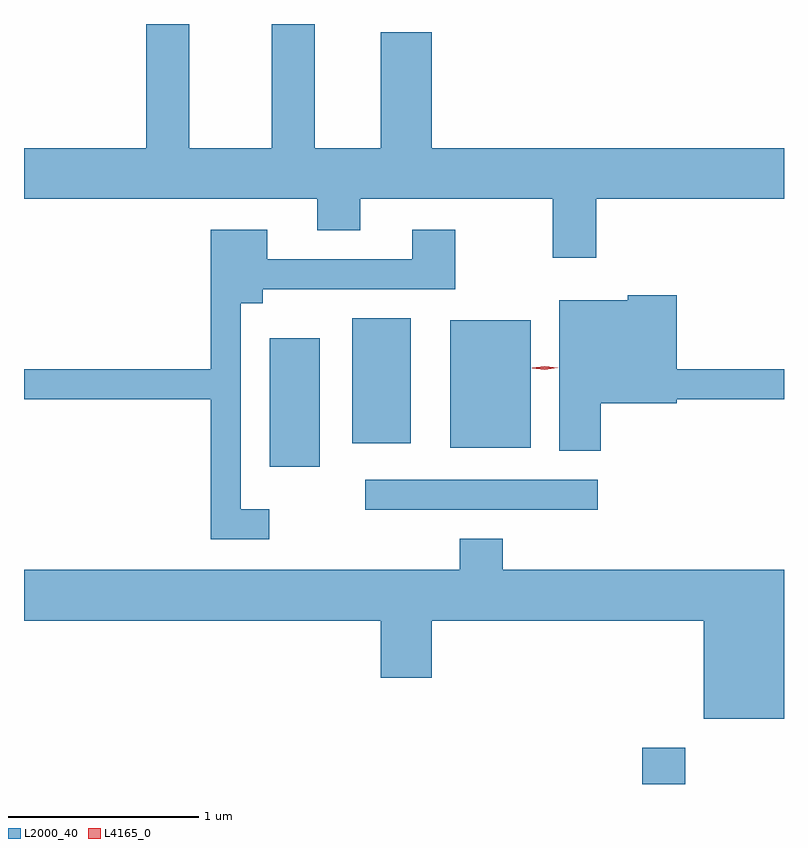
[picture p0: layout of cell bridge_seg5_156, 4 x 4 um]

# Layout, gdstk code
import gdstk
lib = gdstk.Library(unit=1e-6, precision=1e-09)
def R(c, l, rs):  # rectangles x0, y0, x1, y1
    for r in rs: c.add(gdstk.rectangle(r[:2], r[2:], *l))
def P(c, l, *ps):  # polygons
    for p in ps: c.add(gdstk.Polygon(p, *l))
L2000_40 = (2000, 40)
L4165_0 = (4165, 0)

bridge_seg5_156 = lib.new_cell('bridge_seg5_156')
R(bridge_seg5_156, L2000_40, [(1115.551,1444.837,1115.779,1445.029), (1114.093,1446.281,1115.318,1446.439), (1113.591,1446.506,1113.854,1447.184), (1114.541,1446.606,1114.964,1447.279), (1114.026,1446.631,1114.334,1447.289)])
P(bridge_seg5_156, L2000_40, [(1115.309,1447.916),(1116.298,1447.916),(1116.298,1448.184),(1114.444,1448.184),(1114.444,1448.794),(1114.176,1448.794),(1114.176,1448.184),(1113.829,1448.184),(1113.829,1448.837),(1113.601,1448.837),(1113.601,1448.184),(1113.169,1448.184),(1113.169,1448.837),(1112.941,1448.837),(1112.941,1448.184),(1112.298,1448.184),(1112.298,1447.916),(1113.841,1447.916),(1113.841,1447.751),(1114.069,1447.751),(1114.069,1447.916),(1115.081,1447.916),(1115.081,1447.606),(1115.309,1447.606)],
  [(1113.588,1446.284),(1113.439,1446.284),(1113.439,1447.366),(1113.554,1447.366),(1113.554,1447.441),(1114.569,1447.441),(1114.569,1447.754),(1114.341,1447.754),(1114.341,1447.599),(1113.579,1447.599),(1113.579,1447.754),(1113.281,1447.754),(1113.281,1447.019),(1112.298,1447.019),(1112.298,1446.861),(1113.281,1446.861),(1113.281,1446.126),(1113.588,1446.126)],
  [(1115.334,1446.841),(1115.734,1446.841),(1115.734,1446.861),(1116.298,1446.861),(1116.298,1447.019),(1115.734,1447.019),(1115.734,1447.409),(1115.476,1447.409),(1115.476,1447.384),(1115.116,1447.384),(1115.116,1446.591),(1115.334,1446.591)],
  [(1116.298,1445.964),(1114.819,1445.964),(1114.819,1446.129),(1114.591,1446.129),(1114.591,1445.964),(1112.298,1445.964),(1112.298,1445.696),(1114.176,1445.696),(1114.176,1445.396),(1114.444,1445.396),(1114.444,1445.696),(1115.876,1445.696),(1115.876,1445.181),(1116.298,1445.181)])
P(bridge_seg5_156, L4165_0, [(1115.04,1447.017),(1114.974,1447.026),(1114.974,1447.027),(1114.974,1447.027),(1115.04,1447.037),(1115.106,1447.028),(1115.106,1447.028),(1115.106,1447.027)])

lib.write_gds('bridge_seg5_156.gds')
